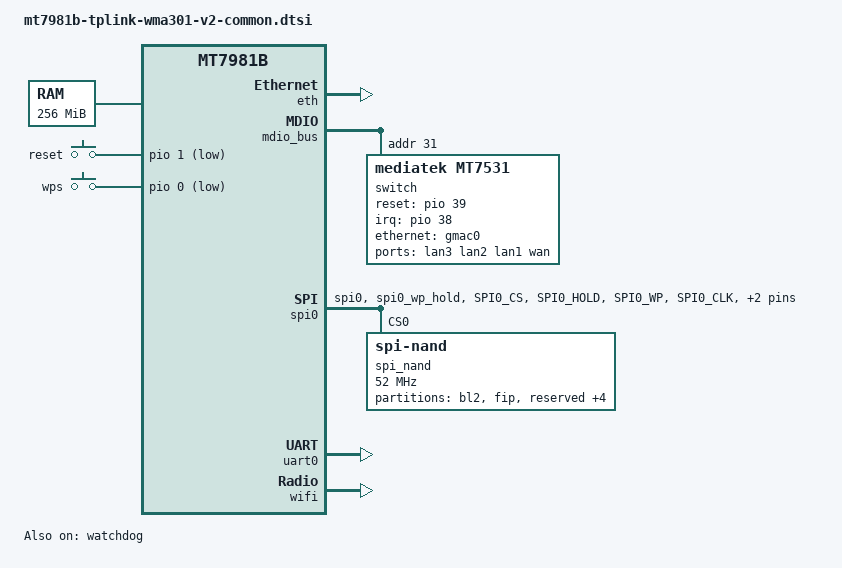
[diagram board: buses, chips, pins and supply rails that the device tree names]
// WMA301 OEM BL2 + BL31 + custom BL33; raw non-NMBM single-UBI layout.
// Derived from ByteArray0/openwrt-device-expand; retains original nvmem cells.
// SPDX-License-Identifier: GPL-2.0-or-later OR MIT

/dts-v1/;
#include <dt-bindings/gpio/gpio.h>
#include <dt-bindings/input/input.h>
#include <dt-bindings/leds/common.h>
#include <dt-bindings/pinctrl/mt65xx.h>

#include "mt7981b.dtsi"

/ {
	aliases {
		serial0 = &uart0;
		label-mac-device = &gmac0;
		led-boot = &led_status_red;
		led-failsafe = &led_status_red;
		led-running = &led_status_green;
		led-upgrade = &led_status_green;
	};

	chosen {
		bootargs-append = " root=/dev/fit0 rootwait";
		rootdisk = <&ubi_rootdisk>;
		stdout-path = "serial0:115200n8";
	};

	memory@40000000 {
		reg = <0 0x40000000 0 0x10000000>;
		device_type = "memory";
	};

	gpio-keys {
		compatible = "gpio-keys";

		reset {
			label = "reset";
			linux,code = <KEY_RESTART>;
			gpios = <&pio 1 GPIO_ACTIVE_LOW>;
		};

		wps {
			label = "wps";
			linux,code = <KEY_WPS_BUTTON>;
			gpios = <&pio 0 GPIO_ACTIVE_LOW>;
		};
	};
};

&eth {
	status = "okay";

	gmac0: mac@0 {
		compatible = "mediatek,eth-mac";
		reg = <0>;
		phy-mode = "2500base-x";

		nvmem-cells = <&macaddr_factory_1c 0>;
		nvmem-cell-names = "mac-address";

		fixed-link {
			speed = <2500>;
			full-duplex;
			pause;
		};
	};
};

&mdio_bus {
	switch: switch@1f {
		compatible = "mediatek,mt7531";
		reg = <31>;
		reset-gpios = <&pio 39 GPIO_ACTIVE_HIGH>;
		interrupt-controller;
		#interrupt-cells = <1>;
		interrupt-parent = <&pio>;
		interrupts = <38 IRQ_TYPE_LEVEL_HIGH>;
	};
};

&spi0 {
	pinctrl-names = "default";
	pinctrl-0 = <&spi0_flash_pins>;
	status = "okay";

	spi_nand: flash@0 {
		compatible = "spi-nand";
		reg = <0>;

		spi-max-frequency = <52000000>;

		spi-cal-enable;
		spi-cal-mode = "read-data";
		spi-cal-datalen = <7>;
		spi-cal-data = /bits/ 8 <0x53 0x50 0x49 0x4E 0x41 0x4E 0x44>;
		spi-cal-addrlen = <5>;
		spi-cal-addr = /bits/ 32 <0x0 0x0 0x0 0x0 0x0>;

		spi-tx-bus-width = <4>;
		spi-rx-bus-width = <4>;

		partitions {
			compatible = "fixed-partitions";
			#address-cells = <1>;
			#size-cells = <1>;

			partition@0 {
				label = "bl2";
				reg = <0x0000000 0x0020000>;
				read-only;
			};

			partition@20000 {
				label = "fip";
				reg = <0x0020000 0x03a0000>;
				read-only;
			};

			partition@3c0000 {
				label = "reserved";
				reg = <0x03c0000 0x0040000>;
				read-only;
			};

			partition@400000 {
				label = "factory_info";
				reg = <0x0400000 0x0080000>;
				read-only;

				nvmem-layout {
					compatible = "fixed-layout";
					#address-cells = <1>;
					#size-cells = <1>;

					macaddr_factory_1c: macaddr@1c {
						compatible = "mac-base";
						reg = <0x1c 0x6>;
						#nvmem-cell-cells = <1>;
					};
				};
			};

			partition@480000 {
				label = "art";
				reg = <0x0480000 0x0080000>;
				read-only;

				nvmem-layout {
					compatible = "fixed-layout";
					#address-cells = <1>;
					#size-cells = <1>;

					eeprom_0: eeprom@0 {
						reg = <0x0 0x1000>;
					};
				};
			};

			partition@500000 {
				label = "config";
				reg = <0x0500000 0x0200000>;
				read-only;
			};

			partition@700000 {
				label = "ubi";
				reg = <0x0700000 0x7900000>;
				compatible = "linux,ubi";

				volumes {
					ubi_rootdisk: ubi-volume-fit {
						volname = "fit";
					};
				};
			};
		};
	};
};

&switch {
	ports {
		#address-cells = <1>;
		#size-cells = <0>;

		port@0 {
			reg = <0>;
			label = "lan3";
		};

		port@1 {
			reg = <1>;
			label = "lan2";
		};

		port@2 {
			reg = <2>;
			label = "lan1";
		};

		port@3 {
			reg = <3>;
			label = "wan";
			/* OEM: LAN +0, 2.4G +1, 5G +2, WAN +3 */
			nvmem-cells = <&macaddr_factory_1c 3>;
			nvmem-cell-names = "mac-address";
		};

		port@6 {
			reg = <6>;
			ethernet = <&gmac0>;
			phy-mode = "2500base-x";

			fixed-link {
				speed = <2500>;
				full-duplex;
				pause;
			};
		};
	};
};

&pio {
	spi0_flash_pins: spi0-pins {
		mux {
			function = "spi";
			groups = "spi0", "spi0_wp_hold";
		};

		conf-pu {
			pins = "SPI0_CS", "SPI0_HOLD", "SPI0_WP";
			drive-strength = <MTK_DRIVE_4mA>;
			bias-pull-up = <MTK_PUPD_SET_R1R0_11>;
		};

		conf-pd {
			pins = "SPI0_CLK", "SPI0_MOSI", "SPI0_MISO";
			drive-strength = <MTK_DRIVE_4mA>;
			bias-pull-down = <MTK_PUPD_SET_R1R0_11>;
		};
	};
};

&uart0 {
	status = "okay";
};

&watchdog {
	status = "okay";
};

&wifi {
	nvmem-cells = <&eeprom_0>;
	nvmem-cell-names = "eeprom";
	status = "okay";
};
